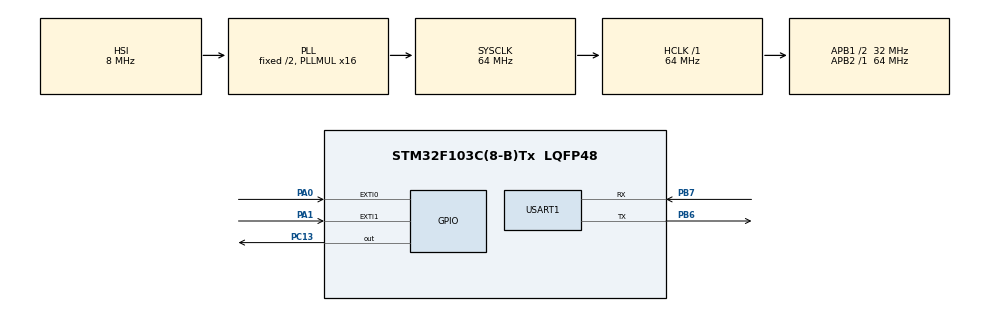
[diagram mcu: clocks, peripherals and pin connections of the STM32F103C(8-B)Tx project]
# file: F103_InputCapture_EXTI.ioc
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Mcu.Family=STM32F1
Mcu.Name=STM32F103C(8-B)Tx
Mcu.Package=LQFP48
NVIC.EXTI0_IRQn=true\:0\:0\:false\:false\:true\:true\:true\:true
NVIC.EXTI1_IRQn=true\:0\:0\:false\:false\:true\:true\:true\:true
NVIC.PriorityGroup=NVIC_PRIORITYGROUP_4
NVIC.TIM4_IRQn=true\:0\:0\:false\:false\:true\:true\:true\:true
NVIC.USART1_IRQn=true\:0\:0\:false\:false\:true\:true\:true\:true
PA0-WKUP.Signal=GPXTI0
PA1.Signal=GPXTI1
PA13.Mode=Serial_Wire
PA13.Signal=SYS_JTMS-SWDIO
PA14.Mode=Serial_Wire
PA14.Signal=SYS_JTCK-SWCLK
PB6.Mode=Asynchronous
PB6.Signal=USART1_TX
PB7.Mode=Asynchronous
PB7.Signal=USART1_RX
PC13-TAMPER-RTC.Signal=GPIO_Output
PC14-OSC32_IN.Mode=LSE-External-Oscillator
PC14-OSC32_IN.Signal=RCC_OSC32_IN
PC15-OSC32_OUT.Mode=LSE-External-Oscillator
PC15-OSC32_OUT.Signal=RCC_OSC32_OUT
PD0-OSC_IN.Mode=HSE-External-Oscillator
PD0-OSC_IN.Signal=RCC_OSC_IN
PD1-OSC_OUT.Mode=HSE-External-Oscillator
PD1-OSC_OUT.Signal=RCC_OSC_OUT
ProjectManager.HeapSize=0x200
ProjectManager.StackSize=0x400
ProjectManager.TargetToolchain=STM32CubeIDE
RCC.AHBFreq_Value=64000000
RCC.APB1CLKDivider=RCC_HCLK_DIV2
RCC.APB1Freq_Value=32000000
RCC.APB1TimFreq_Value=64000000
RCC.APB2Freq_Value=64000000
RCC.APB2TimFreq_Value=64000000
RCC.HCLKFreq_Value=64000000
RCC.PLLMUL=RCC_PLL_MUL16
RCC.SYSCLKFreq_VALUE=64000000
RCC.SYSCLKSource=RCC_SYSCLKSOURCE_PLLCLK
RCC.USBFreq_Value=64000000
TIM4.Period=999
TIM4.Prescaler=63999
USART1.VirtualMode=VM_ASYNC
VP_TIM4_VS_ClockSourceINT.Mode=Internal
board=custom

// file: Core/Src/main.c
/* USER CODE BEGIN Header */
/**
  ******************************************************************************
  * @file           : main.c
  * @brief          : Main program body
  ******************************************************************************
  * @attention
  *
  * Copyright (c) 2023 STMicroelectronics.
  * All rights reserved.
  *
  * This software is licensed under terms that can be found in the LICENSE file
  * in the root directory of this software component.
  * If no LICENSE file comes with this software, it is provided AS-IS.
  *
  ******************************************************************************
  */
/* USER CODE END Header */
#include "main.h"
#include "tim.h"
#include "usart.h"
#include "gpio.h"

/* USER CODE BEGIN Includes */
#include "stdio.h"
#include "string.h"
/* USER CODE END Includes */

/* USER CODE BEGIN PV */
volatile uint32_t num_imp1 = 0, num_imp2 = 0;
uint32_t freq1 = 0, freq2 = 0;
volatile uint8_t  flag_timer = 0;
/* USER CODE END PV */

void SystemClock_Config(void);

int main(void)
{

  /* MCU Configuration--------------------------------------------------------*/

  /* Reset of all peripherals, Initializes the Flash interface and the Systick. */
  HAL_Init();

  /* Configure the system clock */
  SystemClock_Config();

  /* Initialize all configured peripherals */
  MX_GPIO_Init();
  MX_TIM4_Init();
  MX_USART1_UART_Init();
  /* USER CODE BEGIN 2 */
  HAL_TIM_Base_Start_IT(&htim4);
  uint8_t buff[80] = {0,};
  /* USER CODE END 2 */

  /* Infinite loop */
  /* USER CODE BEGIN WHILE */
  while (1)
  {
	if (flag_timer == 1)
	{
		snprintf(buff, 80, "Freq 1 = %d Freq 2 = %d\r\n", freq1, freq2);
		HAL_UART_Transmit_IT(&huart1, buff, strlen(buff));
		flag_timer = 0;
	}
    /* USER CODE END WHILE */

  }
}

void SystemClock_Config(void)
{
  RCC_OscInitTypeDef RCC_OscInitStruct = {0};
  RCC_ClkInitTypeDef RCC_ClkInitStruct = {0};

  /** Initializes the RCC Oscillators according to the specified parameters
  * in the RCC_OscInitTypeDef structure.
  */
  RCC_OscInitStruct.OscillatorType = RCC_OSCILLATORTYPE_HSI;
  RCC_OscInitStruct.HSIState = RCC_HSI_ON;
  RCC_OscInitStruct.HSICalibrationValue = RCC_HSICALIBRATION_DEFAULT;
  RCC_OscInitStruct.PLL.PLLState = RCC_PLL_ON;
  RCC_OscInitStruct.PLL.PLLSource = RCC_PLLSOURCE_HSI_DIV2;
  RCC_OscInitStruct.PLL.PLLMUL = RCC_PLL_MUL16;
  if (HAL_RCC_OscConfig(&RCC_OscInitStruct) != HAL_OK)
  {
    Error_Handler();
  }

  /** Initializes the CPU, AHB and APB buses clocks
  */
  RCC_ClkInitStruct.ClockType = RCC_CLOCKTYPE_HCLK|RCC_CLOCKTYPE_SYSCLK
                              |RCC_CLOCKTYPE_PCLK1|RCC_CLOCKTYPE_PCLK2;
  RCC_ClkInitStruct.SYSCLKSource = RCC_SYSCLKSOURCE_PLLCLK;
  RCC_ClkInitStruct.AHBCLKDivider = RCC_SYSCLK_DIV1;
  RCC_ClkInitStruct.APB1CLKDivider = RCC_HCLK_DIV2;
  RCC_ClkInitStruct.APB2CLKDivider = RCC_HCLK_DIV1;

  if (HAL_RCC_ClockConfig(&RCC_ClkInitStruct, FLASH_LATENCY_2) != HAL_OK)
  {
    Error_Handler();
  }
}

/* USER CODE BEGIN 4 */
/*----------------------------------------------------------------------------*/
void HAL_GPIO_EXTI_Callback(uint16_t GPIO_Pin)
{
  if (GPIO_Pin == GPIO_PIN_0)
	  num_imp1++;
  if (GPIO_Pin == GPIO_PIN_1)
	  num_imp2++;
}

/*----------------------------------------------------------------------------*/
void HAL_TIM_PeriodElapsedCallback(TIM_HandleTypeDef *htim)
{
	HAL_GPIO_TogglePin(GPIOC, GPIO_PIN_13);
	flag_timer = 1;
	freq1 = num_imp1;
	freq2 = num_imp2;
	num_imp1 = 0;
	num_imp2 = 0;
}
/* USER CODE END 4 */

void Error_Handler(void)
{
  __disable_irq();
  while (1)
  {
  }
}
